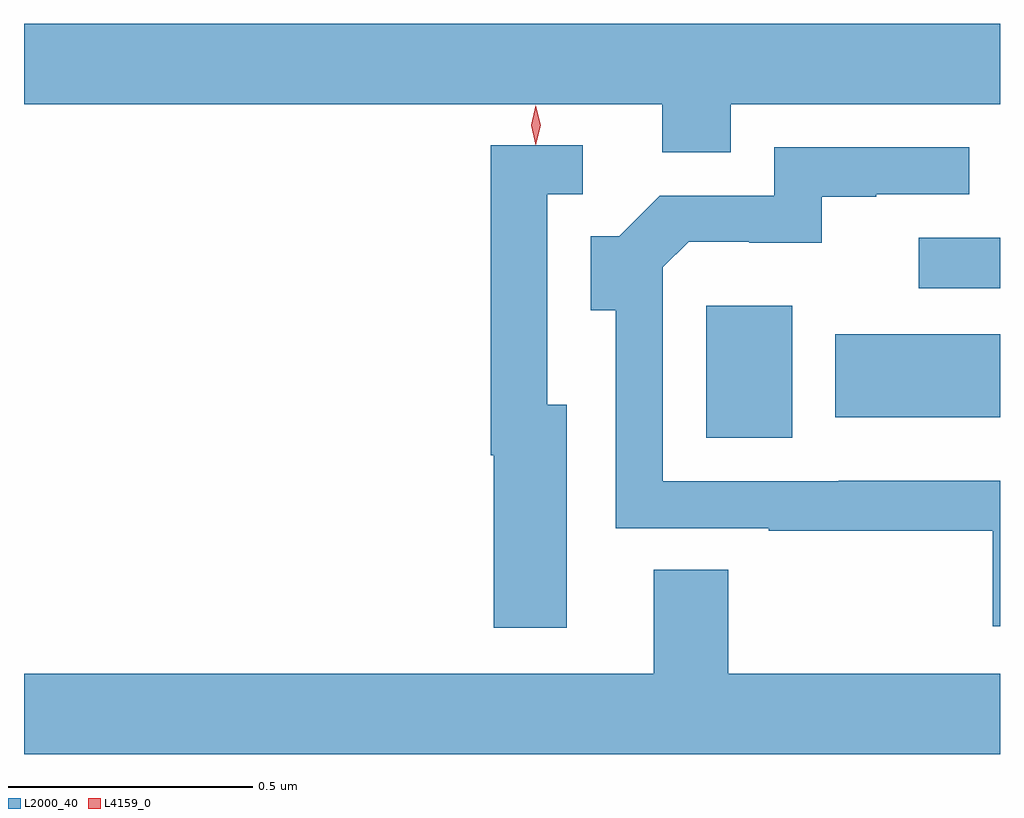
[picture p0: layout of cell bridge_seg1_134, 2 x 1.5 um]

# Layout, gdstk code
import gdstk
lib = gdstk.Library(unit=1e-6, precision=1e-09)
def R(c, l, rs):  # rectangles x0, y0, x1, y1
    for r in rs: c.add(gdstk.rectangle(r[:2], r[2:], *l))
def P(c, l, *ps):  # polygons
    for p in ps: c.add(gdstk.Polygon(p, *l))
L2000_40 = (2000, 40)
L4159_0 = (4159, 0)

bridge_seg1_134 = lib.new_cell('bridge_seg1_134')
R(bridge_seg1_134, L2000_40, [(410.423,563.036,410.599,563.307), (410.687,563.078,411.025,563.248), (410.859,563.342,411.025,563.446)])
P(bridge_seg1_134, L2000_40, [(410.473,563.72),(411.025,563.72),(411.025,563.884),(409.025,563.884),(409.025,563.72),(410.333,563.72),(410.333,563.621),(410.473,563.621)],
  [(410.137,563.104),(410.097,563.104),(410.097,563.535),(410.17,563.535),(410.17,563.635),(409.981,563.635),(409.981,563),(409.988,563),(409.988,562.647),(410.137,562.647)],
  [(411.025,562.948),(410.695,562.948),(410.695,562.947),(410.334,562.947),(410.334,563.385),(410.387,563.438),(410.511,563.438),(410.511,563.436),(410.66,563.436),(410.66,563.53),(410.771,563.53),(410.771,563.535),(410.962,563.535),(410.962,563.631),(410.562,563.631),(410.562,563.532),(410.328,563.532),(410.245,563.449),(410.186,563.449),(410.186,563.297),(410.238,563.297),(410.238,562.851),(410.551,562.851),(410.551,562.846),(411.01,562.846),(411.01,562.65),(411.025,562.65)],
  [(411.025,562.552),(410.468,562.552),(410.468,562.766),(410.315,562.766),(410.315,562.552),(409.025,562.552),(409.025,562.388),(411.025,562.388)])
P(bridge_seg1_134, L4159_0, [(410.074,563.635),(410.074,563.635),(410.064,563.676),(410.074,563.717),(410.074,563.717),(410.074,563.717),(410.084,563.676),(410.074,563.635)])

lib.write_gds('bridge_seg1_134.gds')
